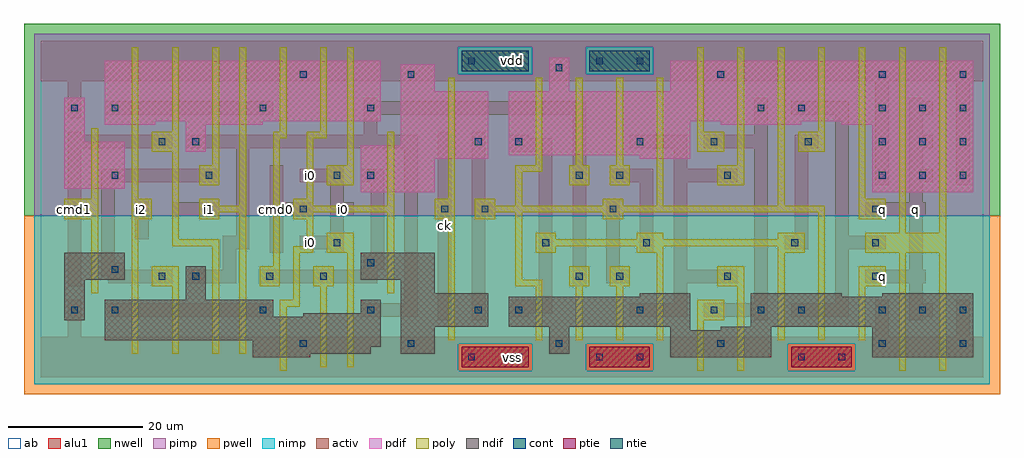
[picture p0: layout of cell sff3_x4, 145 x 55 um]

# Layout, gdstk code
import gdstk
lib = gdstk.Library(unit=1e-6, precision=1e-09)
def R(c, l, rs):  # rectangles x0, y0, x1, y1
    for r in rs: c.add(gdstk.rectangle(r[:2], r[2:], *l))
def A(c, l, x, y, w, h, nx, ny, dx, dy):  # array of equal rectangles
    R(c, l, [(x+i*dx, y+j*dy, x+i*dx+w, y+j*dy+h) for i in range(nx) for j in range(ny)])
ndif = (3, 0)
pdif = (4, 0)
ntie = (5, 0)
ptie = (6, 0)
cont = (25, 0)
pwell = (41, 0)
nwell = (42, 0)
activ = (43, 0)
pimp = (44, 0)
nimp = (45, 0)
poly = (46, 0)
alu1 = (49, 0)
ab = (63, 0)

sff3_x4 = lib.new_cell('sff3_x4')
R(sff3_x4, ndif, [(31.5,3,40,3.5), (93.5,3,108.5,7), (123.5,3,138.5,7.5), (31.5,3.5,49,4.5), (53.5,3.5,58.5,7.5), (75.5,3.5,78.5,7.5), (31.5,4.5,50.5,5.5), (9.5,5.5,50.5,9), (93.5,7,96.5,7.5), (101,7,108.5,7.5), (53.5,7.5,66.5,12.5), (69.5,7.5,96.5,12), (105.5,7.5,138.5,12), (3.5,8.5,6.5,14.5), (9.5,9,34.5,11.5), (39,9,50.5,9.5), (47.5,9.5,50.5,11.5), (21.5,11.5,24.5,16.5), (89,12,96.5,12.5), (105.5,12,119,12.5), (125,12,138.5,12.5), (53.5,12.5,58.5,14.5), (3.5,14.5,12.5,18.5), (47.5,14.5,58.5,18.5)])
R(sff3_x4, pdif, [(47.5,27.5,58.5,32.5), (123.5,27.5,138.5,37.5), (3.5,28,12.5,35), (47.5,32.5,66.5,34.5), (89,32.5,96.5,33), (69.5,33,96.5,38), (21.5,33.5,24.5,37.5), (53.5,34.5,66.5,42.5), (3.5,35,6.5,41.5), (9.5,37.5,17,38), (21.5,37.5,33,38), (101,37.5,113,38), (119,37.5,138.5,38), (9.5,38,50.5,47), (69.5,38,138.5,42.5), (53.5,42.5,58.5,46.5), (75.5,42.5,78.5,47.5), (93.5,42.5,138.5,47)])
R(sff3_x4, ntie, [(62.5,45.5,72.5,48.5), (81.5,45.5,90.5,48.5)])
R(sff3_x4, ptie, [(62.5,1.5,72.5,4.5), (81.5,1.5,90.5,4.5), (111.5,1.5,120.5,4.5)])
A(sff3_x4, cont, 38.5, 4.5, 1, 1, 1, 3, 0, 20)
A(sff3_x4, cont, 76.5, 4.5, 1, 1, 3, 1, 24, 0)
A(sff3_x4, cont, 32.5, 9.5, 1, 1, 3, 1, 16, 0)
A(sff3_x4, cont, 124.5, 9.5, 1, 1, 3, 2, 6, 20)
A(sff3_x4, cont, 123.5, 14.5, 1, 1, 1, 3, 0, 5)
A(sff3_x4, cont, 4.5, 24.5, 1, 1, 3, 1, 10, 0)
A(sff3_x4, cont, 124.5, 34.5, 1, 1, 3, 2, 6, 5)
R(sff3_x4, cont, [(63.5,2.5,64.5,3.5), (70.5,2.5,71.5,3.5), (82.5,2.5,83.5,3.5), (88.5,2.5,89.5,3.5), (112.5,2.5,113.5,3.5), (118.5,2.5,119.5,3.5), (54.5,4.5,55.5,5.5), (136.5,4.5,137.5,5.5), (4.5,9.5,5.5,10.5), (10.5,9.5,11.5,10.5), (70.5,9.5,71.5,10.5), (88.5,9.5,89.5,10.5), (99.5,9.5,100.5,10.5), (106.5,9.5,107.5,10.5), (112.5,9.5,113.5,10.5), (17.5,14.5,18.5,15.5), (22.5,14.5,23.5,15.5), (33.5,14.5,34.5,15.5), (41.5,14.5,42.5,15.5), (79.5,14.5,80.5,15.5), (85.5,14.5,86.5,15.5), (101.5,14.5,102.5,15.5), (10.5,15.5,11.5,16.5), (48.5,16.5,49.5,17.5), (43.5,19.5,44.5,20.5), (74.5,19.5,75.5,20.5), (89.5,19.5,90.5,20.5), (111.5,19.5,112.5,20.5), (59.5,24.5,60.5,25.5), (65.5,24.5,66.5,25.5), (84.5,24.5,85.5,25.5), (10.5,29.5,11.5,30.5), (24.5,29.5,25.5,30.5), (43.5,29.5,44.5,30.5), (48.5,29.5,49.5,30.5), (79.5,29.5,80.5,30.5), (85.5,29.5,86.5,30.5), (101.5,29.5,102.5,30.5), (17.5,34.5,18.5,35.5), (22.5,34.5,23.5,35.5), (64.5,34.5,65.5,35.5), (70.5,34.5,71.5,35.5), (88.5,34.5,89.5,35.5), (99.5,34.5,100.5,35.5), (113.5,34.5,114.5,35.5), (4.5,39.5,5.5,40.5), (10.5,39.5,11.5,40.5), (32.5,39.5,33.5,40.5), (48.5,39.5,49.5,40.5), (106.5,39.5,107.5,40.5), (112.5,39.5,113.5,40.5), (54.5,44.5,55.5,45.5), (100.5,44.5,101.5,45.5), (124.5,44.5,125.5,45.5), (136.5,44.5,137.5,45.5), (76.5,45.5,77.5,46.5), (63.5,46.5,64.5,47.5), (70.5,46.5,71.5,47.5), (82.5,46.5,83.5,47.5), (88.5,46.5,89.5,47.5)])
R(sff3_x4, pwell, [(-2.5,-2.5,142.5,24)])
R(sff3_x4, nwell, [(-2.5,24,142.5,52.5)])
R(sff3_x4, activ, [(62.5,1.5,72.5,4.5), (81.5,1.5,90.5,4.5), (111.5,1.5,120.5,4.5), (31.5,3,40,3.5), (93.5,3,108.5,7), (123.5,3,138.5,7.5), (31.5,3.5,49,4.5), (53.5,3.5,58.5,7.5), (75.5,3.5,78.5,7.5), (31.5,4.5,50.5,5.5), (9.5,5.5,50.5,9), (93.5,7,96.5,7.5), (101,7,108.5,7.5), (53.5,7.5,66.5,12.5), (69.5,7.5,96.5,12), (105.5,7.5,138.5,12), (3.5,8.5,6.5,14.5), (9.5,9,34.5,11.5), (39,9,50.5,9.5), (47.5,9.5,50.5,11.5), (21.5,11.5,24.5,16.5), (89,12,96.5,12.5), (105.5,12,119,12.5), (125,12,138.5,12.5), (53.5,12.5,58.5,14.5), (3.5,14.5,12.5,18.5), (47.5,14.5,58.5,18.5), (47.5,27.5,58.5,32.5), (123.5,27.5,138.5,37.5), (3.5,28,12.5,35), (47.5,32.5,66.5,34.5), (89,32.5,96.5,33), (69.5,33,96.5,38), (21.5,33.5,24.5,37.5), (53.5,34.5,66.5,42.5), (3.5,35,6.5,41.5), (9.5,37.5,17,38), (21.5,37.5,33,38), (101,37.5,113,38), (119,37.5,138.5,38), (9.5,38,50.5,47), (69.5,38,138.5,42.5), (53.5,42.5,58.5,46.5), (75.5,42.5,78.5,47.5), (93.5,42.5,138.5,47), (62.5,45.5,72.5,48.5), (81.5,45.5,90.5,48.5)])
R(sff3_x4, pimp, [(62,1,73,5), (81,1,91,5), (111,1,121,5), (-1,24,141,45), (-1,45,62,49), (73,45,81,49), (91,45,141,49), (-1,49,141,51)])
R(sff3_x4, nimp, [(-1,-1,141,1), (-1,1,62,5), (73,1,81,5), (91,1,111,5), (121,1,141,5), (-1,5,141,24), (62,45,73,49), (81,45,91,49)])
A(sff3_x4, poly, 73.5, 5.5, 1, 8, 3, 1, 6, 0)
A(sff3_x4, poly, 73.5, 31.5, 1, 13, 3, 1, 6, 0)
R(sff3_x4, poly, [(35.5,1,36.5,10.5), (97.5,1,98.5,8.5), (103.5,1,104.5,13.5), (127.5,1,128.5,18.5), (133.5,1,134.5,18.5), (41.5,1.5,42.5,13.5), (45.5,1.5,46.5,18.5), (13.5,3.5,14.5,23.5), (19.5,3.5,20.5,13.5), (25.5,3.5,26.5,19.5), (29.5,3.5,30.5,24.5), (60.5,5.5,61.5,23.5), (91.5,5.5,92.5,18.5), (109.5,5.5,110.5,18.5), (115.5,5.5,116.5,24.5), (121.5,5.5,122.5,13.5), (97.5,8.5,101.5,11.5), (35.5,10.5,38.5,11.5), (37.5,11.5,38.5,18.5), (7.5,12.5,8.5,23.5), (51.5,12.5,52.5,24.5), (16.5,13.5,20.5,16.5), (32.5,13.5,35.5,16.5), (40.5,13.5,43.5,16.5), (70.5,13.5,74.5,14.5), (78.5,13.5,81.5,16.5), (84.5,13.5,87.5,16.5), (100.5,13.5,104.5,16.5), (121.5,13.5,125.5,16.5), (70.5,14.5,71.5,24.5), (34.5,16.5,35.5,35.5), (37.5,18.5,40.5,19.5), (42.5,18.5,46.5,21.5), (73.5,18.5,76.5,19.5), (88.5,18.5,92.5,19.5), (109.5,18.5,113.5,19.5), (122.5,18.5,134.5,21.5), (19.5,19.5,26.5,20.5), (39.5,19.5,40.5,23.5), (73.5,19.5,113.5,20.5), (19.5,20.5,20.5,33.5), (73.5,20.5,76.5,21.5), (88.5,20.5,92.5,21.5), (109.5,20.5,113.5,21.5), (127.5,21.5,128.5,49), (133.5,21.5,134.5,49), (3.5,23.5,8.5,26.5), (13.5,23.5,16.5,26.5), (23.5,23.5,26.5,24.5), (37.5,23.5,40.5,24.5), (58.5,23.5,61.5,26.5), (64.5,23.5,67.5,24.5), (83.5,23.5,86.5,24.5), (121.5,23.5,125.5,26.5), (23.5,24.5,30.5,25.5), (37.5,24.5,52.5,25.5), (64.5,24.5,116.5,25.5), (23.5,25.5,26.5,26.5), (29.5,25.5,30.5,49), (37.5,25.5,40.5,26.5), (51.5,25.5,52.5,36.5), (64.5,25.5,67.5,26.5), (70.5,25.5,71.5,30.5), (83.5,25.5,86.5,26.5), (91.5,25.5,92.5,44.5), (109.5,25.5,110.5,49), (7.5,26.5,8.5,37), (13.5,26.5,14.5,49), (39.5,26.5,40.5,35.5), (60.5,26.5,61.5,44.5), (121.5,26.5,122.5,49), (23.5,28.5,26.5,31.5), (42.5,28.5,46.5,31.5), (78.5,28.5,81.5,31.5), (84.5,28.5,87.5,31.5), (100.5,28.5,104.5,31.5), (70.5,30.5,74.5,31.5), (25.5,31.5,26.5,49), (45.5,31.5,46.5,49), (103.5,31.5,104.5,49), (16.5,33.5,20.5,36.5), (97.5,33.5,101.5,36.5), (112.5,33.5,116.5,36.5), (34.5,35.5,36.5,36.5), (39.5,35.5,42.5,36.5), (19.5,36.5,20.5,49), (35.5,36.5,36.5,49), (41.5,36.5,42.5,49), (97.5,36.5,98.5,49), (115.5,36.5,116.5,49)])
R(sff3_x4, alu1, [(0,0,140,6), (0,0,140,6), (4,6,6,11.5), (4,6,6,11.5), (124,6,126,11.5), (124,6,126,11.5), (136,6,138,11.5), (136,6,138,11.5), (59,8.5,61,36.5), (59,8.5,61,36.5), (64,8.5,66,24), (64,8.5,66,24), (106,8.5,108,9), (106,8.5,108,9), (129,8.5,131,9), (129,8.5,131,9), (9.5,9,34.5,11), (9.5,9,34.5,11), (47.5,9,56,11), (47.5,9,56,11), (69.5,9,72.5,9.5), (69.5,9,72.5,9.5), (87.5,9,96,11), (87.5,9,96,11), (98.5,9,108,11), (98.5,9,108,11), (111.5,9,120,11), (111.5,9,120,11), (129,9,132.5,11), (129,9,132.5,11), (69.5,9.5,76,11), (69.5,9.5,76,11), (54,11,56,34), (54,11,56,34), (70,11,76,11.5), (70,11,76,11.5), (94,11,96,14), (94,11,96,14), (106,11,108,34), (106,11,108,34), (118,11,120,19), (118,11,120,19), (129,11,131,14), (129,11,131,14), (74,11.5,76,33.5), (74,11.5,76,33.5), (4,13.5,6,34), (4,13.5,6,34), (79,13.5,81,39), (79,13.5,81,39), (10,14,19.5,15), (10,14,19.5,15), (21.5,14,29,16), (21.5,14,29,16), (32.5,14,50,16), (32.5,14,50,16), (84,14,87.5,16), (84,14,87.5,16), (94,14,103.5,16), (94,14,103.5,16), (122.5,14,131.5,16), (122.5,14,131.5,16), (9,15,19.5,16), (9,15,19.5,16), (9,16,12.5,17), (9,16,12.5,17), (27,16,29,19), (27,16,29,19), (48,16,51,18.5), (48,16,51,18.5), (84,16,86,26.5), (84,16,86,26.5), (94,16,96,29), (94,16,96,29), (129,16,131,24), (129,16,131,24), (9,17,11,29), (9,17,11,29), (34,18.5,36,24), (34,18.5,36,24), (43,18.5,45,19), (43,18.5,45,19), (49,18.5,51,29), (49,18.5,51,29), (89,18.5,91,29), (89,18.5,91,29), (27,19,31,21), (27,19,31,21), (38.5,19,45,21), (38.5,19,45,21), (110.5,19,114,21), (110.5,19,114,21), (118,19,125.5,21), (118,19,125.5,21), (14,20.5,16,26.5), (14,20.5,16,26.5), (29,21,31,34), (29,21,31,34), (43,21,45,24), (43,21,45,24), (112,21,114,34), (112,21,114,34), (118,21,120,39), (118,21,120,39), (19.5,24,26.5,26), (19.5,24,26.5,26), (34,24,40.5,26), (34,24,40.5,26), (43,24,46.5,26), (43,24,46.5,26), (64,24,67.5,26), (64,24,67.5,26), (122.5,24,131.5,26), (122.5,24,131.5,26), (34,26,36,31.5), (34,26,36,31.5), (43,26,45,29), (43,26,45,29), (64,26,66,36.5), (64,26,66,36.5), (129,26,131,29), (129,26,131,29), (124,28.5,126,44), (124,28.5,126,44), (136,28.5,138,44), (136,28.5,138,44), (9,29,26.5,31), (9,29,26.5,31), (38.5,29,45,31), (38.5,29,45,31), (47.5,29,51,31), (47.5,29,51,31), (84.5,29,91,31), (84.5,29,91,31), (94,29,103.5,31), (94,29,103.5,31), (129,29,132.5,31), (129,29,132.5,31), (43,31,45,31.5), (43,31,45,31.5), (94,31,96,34), (94,31,96,34), (129,31,131,34), (129,31,131,34), (70,33.5,76,34), (70,33.5,76,34), (4,34,19.5,36), (4,34,19.5,36), (21.5,34,56,36), (21.5,34,56,36), (69.5,34,76,35.5), (69.5,34,76,35.5), (87.5,34,96,36), (87.5,34,96,36), (98.5,34,108,36), (98.5,34,108,36), (112,34,115.5,36), (112,34,115.5,36), (129,34,132.5,36), (129,34,132.5,36), (69.5,35.5,72.5,36), (69.5,35.5,72.5,36), (4,36,6,36.5), (4,36,6,36.5), (48,36,50,39), (48,36,50,39), (106,36,108,41.5), (106,36,108,41.5), (129,36,131,39), (129,36,131,39), (4,38.5,6,44), (4,38.5,6,44), (9.5,39,34.5,41), (9.5,39,34.5,41), (48,39,81,41), (48,39,81,41), (111.5,39,120,41), (111.5,39,120,41), (129,39,132.5,41), (129,39,132.5,41), (48,41,50,41.5), (48,41,50,41.5), (129,41,131,41.5), (129,41,131,41.5), (0,44,140,50), (0,44,140,50)])
R(sff3_x4, ab, [(0,0,140,50)])
sff3_x4.add(gdstk.Label('i1', (25,25), layer=49, texttype=0))
sff3_x4.add(gdstk.Label('cmd1', (5,25), layer=49, texttype=0))
sff3_x4.add(gdstk.Label('i2', (15,25), layer=49, texttype=0))
sff3_x4.add(gdstk.Label('i0', (40,20), layer=49, texttype=0))
sff3_x4.add(gdstk.Label('i0', (45,25), layer=49, texttype=0))
sff3_x4.add(gdstk.Label('cmd0', (35,25), layer=49, texttype=0))
sff3_x4.add(gdstk.Label('i0', (40,30), layer=49, texttype=0))
sff3_x4.add(gdstk.Label('vss', (70,3), layer=49, texttype=0))
sff3_x4.add(gdstk.Label('ck', (60,22.5), layer=49, texttype=0))
sff3_x4.add(gdstk.Label('vdd', (70,47), layer=49, texttype=0))
sff3_x4.add(gdstk.Label('q', (125,15), layer=49, texttype=0))
sff3_x4.add(gdstk.Label('q', (130,25), layer=49, texttype=0))
sff3_x4.add(gdstk.Label('q', (125,25), layer=49, texttype=0))

lib.write_gds('sff3_x4.gds')
